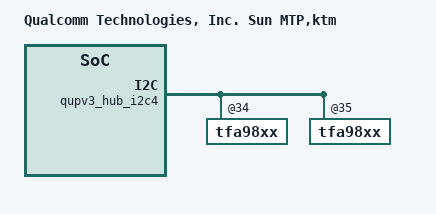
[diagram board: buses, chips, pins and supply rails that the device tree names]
/dts-v1/;
/plugin/;
#include <dt-bindings/oplus/hw-id.h>
#include "../sun-audio-mtp-nfc.dts"
#include "sun-audio-overlay-common.dtsi"
#include "ktm-24851-audio-sun-overlay.dtsi"

/ {
	model = "Qualcomm Technologies, Inc. Sun MTP,ktm";

	oplus,project-id = <24851>;
	qcom,board-id = <0x50008 0>;
	oplus,hw-id = <OPLUS_EVB1 OPLUS_EVB2 OPLUS_EVB3 OPLUS_T0>;
};

&qupv3_hub_i2c4 {
	tfa98xx@34 {
		tfa_fw_name = "tfa98xx_t0.cnt";
	};
	tfa98xx@35 {
		tfa_fw_name = "tfa98xx_t0.cnt";
	};
};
